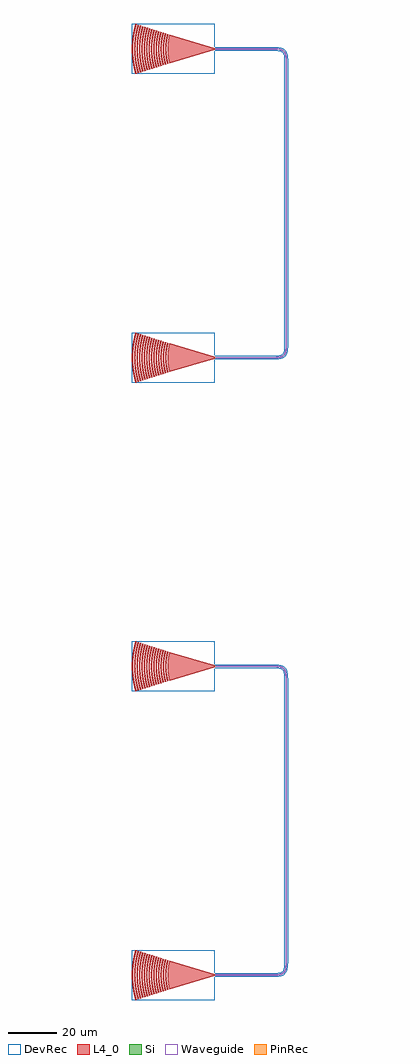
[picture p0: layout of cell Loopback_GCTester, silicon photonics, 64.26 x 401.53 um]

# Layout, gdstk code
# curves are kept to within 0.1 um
import gdstk
lib = gdstk.Library(unit=1e-6, precision=1e-09)
def R(c, l, rs):  # rectangles x0, y0, x1, y1
    for r in rs: c.add(gdstk.rectangle(r[:2], r[2:], *l))
def P(c, l, *ps):  # polygons
    for p in ps: c.add(gdstk.Polygon(p, *l))
Si = (1, 0)
PinRec = (1, 10)
Waveguide = (1, 99)
L4_0 = (4, 0)
DevRec = (68, 0)

universal_gc = lib.new_cell('Universal_GC')
P(universal_gc, L4_0, [(-19.476,-6.141),(-19.83,-4.715),(-20.099,-3.206),(-20.263,-1.709),(-20.327,-0.189),(-20.283,1.422),(-20.124,3.027),(-19.857,4.586),(-19.476,6.141),(-19.009,5.994),(-19.565,3.463),(-19.822,0.842),(-19.822,-0.842),(-19.687,-2.579),(-19.412,-4.318),(-19.009,-5.994)],
  [(-20.41,-6.435),(-20.81,-4.813),(-21.079,-3.27),(-21.249,-1.655),(-21.307,-0.11),(-21.257,1.537),(-21.086,3.22),(-20.81,4.813),(-20.41,6.435),(-19.943,6.288),(-20.529,3.637),(-20.803,0.817),(-20.799,-0.925),(-20.669,-2.613),(-20.371,-4.516),(-19.943,-6.288)],
  [(-21.344,-6.73),(-21.752,-5.092),(-22.034,-3.51),(-22.221,-1.794),(-22.286,-0.182),(-22.237,1.56),(-22.063,3.304),(-21.777,4.973),(-21.344,6.73),(-20.877,6.583),(-21.51,3.702),(-21.782,0.848),(-21.775,-1.026),(-21.621,-2.903),(-21.32,-4.764),(-20.877,-6.583)],
  [(-22.279,-7.024),(-22.701,-5.337),(-23.013,-3.583),(-23.199,-1.848),(-23.266,-0.08),(-23.21,1.689),(-23.029,3.468),(-22.701,5.337),(-22.279,7.024),(-21.811,6.877),(-22.217,5.259),(-22.518,3.585),(-22.707,1.862),(-22.776,0.139),(-22.721,-1.662),(-22.534,-3.473),(-22.237,-5.165),(-21.811,-6.877)],
  [(-23.213,-7.319),(-23.665,-5.512),(-23.978,-3.753),(-24.168,-2.024),(-24.245,-0.168),(-24.185,1.788),(-23.987,3.69),(-23.665,5.512),(-23.213,7.319),(-22.746,7.172),(-23.173,5.471),(-23.489,3.712),(-23.68,1.983),(-23.755,0.21),(-23.702,-1.671),(-23.514,-3.536),(-23.188,-5.401),(-22.746,-7.172)],
  [(-24.147,-7.613),(-24.612,-5.766),(-24.955,-3.839),(-25.162,-1.856),(-25.225,-0.014),(-25.162,1.856),(-24.955,3.839),(-24.612,5.766),(-24.147,7.613),(-23.68,7.466),(-24.139,5.637),(-24.458,3.855),(-24.658,2.039),(-24.735,0.123),(-24.673,-1.829),(-24.471,-3.764),(-24.139,-5.637),(-23.68,-7.466)],
  [(-25.081,-7.908),(-25.571,-5.965),(-25.903,-4.127),(-26.123,-2.149),(-26.204,-0.152),(-26.14,1.912),(-25.934,3.91),(-25.571,5.965),(-25.081,7.908),(-24.614,7.761),(-25.092,5.863),(-25.418,4.059),(-25.637,2.081),(-25.714,0.196),(-25.654,-1.839),(-25.451,-3.827),(-25.098,-5.835),(-24.614,-7.761)],
  [(-26.015,-8.202),(-26.495,-6.324),(-26.868,-4.295),(-27.094,-2.296),(-27.183,-0.219),(-27.123,1.889),(-26.904,4.045),(-26.524,6.191),(-26.015,8.202),(-25.548,8.055),(-26.033,6.145),(-26.401,4.104),(-26.614,2.15),(-26.694,0.091),(-26.625,-1.997),(-26.421,-3.963),(-26.069,-5.977),(-25.548,-8.055)],
  [(-26.949,-8.497),(-27.471,-6.445),(-27.842,-4.403),(-28.077,-2.284),(-28.163,-0.134),(-28.098,1.987),(-27.873,4.187),(-27.494,6.338),(-26.949,8.497),(-26.482,8.35),(-26.988,6.362),(-27.371,4.24),(-27.592,2.205),(-27.673,0.18),(-27.609,-1.962),(-27.386,-4.134),(-27.029,-6.171),(-26.482,-8.35)],
  [(-27.883,-8.792),(-28.422,-6.68),(-28.809,-4.559),(-29.053,-2.368),(-29.142,-0.207),(-29.081,1.965),(-28.849,4.279),(-28.454,6.532),(-27.883,8.792),(-27.416,8.644),(-27.941,6.588),(-28.341,4.375),(-28.573,2.22),(-28.653,0.035),(-28.573,-2.22),(-28.341,-4.375),(-27.941,-6.588),(-27.416,-8.644)],
  [(-28.817,-9.086),(-29.386,-6.856),(-29.798,-4.563),(-30.04,-2.3),(-30.122,-0.098),(-30.048,2.187),(-29.801,4.542),(-29.386,6.856),(-28.817,9.086),(-28.35,8.939),(-28.894,6.814),(-29.304,4.559),(-29.546,2.343),(-29.632,0.167),(-29.563,-2.1),(-29.324,-4.418),(-28.922,-6.685),(-28.35,-8.939)],
  [(-29.751,-9.381),(-30.346,-7.05),(-30.752,-4.81),(-31.01,-2.466),(-31.101,-0.194),(-31.027,2.225),(-30.767,4.706),(-30.346,7.05),(-29.751,9.381),(-29.284,9.233),(-29.858,6.99),(-30.259,4.796),(-30.514,2.53),(-30.611,0.232),(-30.54,-2.17),(-30.293,-4.561),(-29.882,-6.879),(-29.284,-9.233)],
  [(-30.685,-9.675),(-31.286,-7.336),(-31.724,-4.931),(-31.994,-2.44),(-32.081,-0.043),(-31.994,2.44),(-31.724,4.931),(-31.286,7.336),(-30.685,9.675),(-30.218,9.528),(-30.836,7.101),(-31.234,4.898),(-31.498,2.507),(-31.591,0.147),(-31.513,-2.298),(-31.261,-4.71),(-30.836,-7.101),(-30.218,-9.528)],
  [(-31.62,-9.97),(-32.249,-7.517),(-32.684,-5.135),(-32.961,-2.644),(-33.06,-0.174),(-32.981,2.363),(-32.709,4.963),(-32.249,7.517),(-31.62,9.97),(-31.153,9.822),(-31.756,7.479),(-32.194,5.101),(-32.468,2.669),(-32.57,0.224),(-32.501,-2.2),(-32.247,-4.731),(-31.781,-7.364),(-31.153,-9.822)],
  [(-32.554,-10.264),(-33.174,-7.87),(-33.645,-5.332),(-33.938,-2.714),(-34.039,-0.248),(-33.962,2.373),(-33.683,5.07),(-33.219,7.665),(-32.554,10.264),(-32.087,10.117),(-32.716,7.672),(-33.174,5.169),(-33.449,2.686),(-33.55,0.114),(-33.457,-2.577),(-33.188,-5.072),(-32.751,-7.512),(-32.087,-10.117)],
  [(-18.542,-5.846),(-19.145,-2.958),(-19.348,-0.128),(-19.161,2.84),(-18.542,5.846),(0,0.375),(0,-0.375)])
R(universal_gc, DevRec, [(-34.04,-10.264,0,10.264)])
universal_gc.add(gdstk.FlexPath([(-0.01,0),(0.01,0)], 0.75, ends="flush", simple_path=True, layer=1, datatype=10))  # PinRec
universal_gc.add(gdstk.Label('pin1', (0,0), layer=1, texttype=10))
universal_gc.add(gdstk.Label('Wavelength: 1.55\nIncident Angle: 8.0\nPolarization: TE\nSilicon thickness: 0.4\nSilicon etch depth: 0.4', (0,4), layer=1, texttype=10))

waveguide_2_1 = lib.new_cell('Waveguide$2$1')
P(waveguide_2_1, Si, [(-1169.44,730.61),(-1169.44,731.11),(-1144.97,731.11),(-1143.584,731.164),(-1142.228,731.414),(-1141.387,731.83),(-1141.004,732.193),(-1140.76,732.557),(-1140.415,733.519),(-1140.258,734.654),(-1140.22,735.86),(-1140.22,852.86),(-1140.259,854.067),(-1140.416,855.202),(-1140.761,856.164),(-1141.005,856.528),(-1141.388,856.891),(-1142.358,857.346),(-1143.764,857.572),(-1169.44,857.61),(-1169.44,858.11),(-1144.749,858.109),(-1143.539,858.055),(-1142.521,857.903),(-1141.803,857.685),(-1141.199,857.37),(-1140.793,857.037),(-1140.39,856.521),(-1140.146,856.028),(-1139.928,855.31),(-1139.725,853.298),(-1139.72,735.86),(-1139.775,734.429),(-1139.927,733.411),(-1140.145,732.693),(-1140.389,732.2),(-1140.703,731.778),(-1141.089,731.428),(-1142.076,730.938),(-1143.538,730.666),(-1144.97,730.61)])
P(waveguide_2_1, Waveguide, [(-1169.44,730.61),(-1169.44,731.11),(-1144.97,731.11),(-1143.584,731.164),(-1142.228,731.414),(-1141.387,731.83),(-1141.004,732.193),(-1140.76,732.557),(-1140.415,733.519),(-1140.258,734.654),(-1140.22,735.86),(-1140.22,852.86),(-1140.259,854.067),(-1140.416,855.202),(-1140.761,856.164),(-1141.005,856.528),(-1141.388,856.891),(-1142.358,857.346),(-1143.764,857.572),(-1169.44,857.61),(-1169.44,858.11),(-1144.749,858.109),(-1143.539,858.055),(-1142.521,857.903),(-1141.803,857.685),(-1141.199,857.37),(-1140.793,857.037),(-1140.39,856.521),(-1140.146,856.028),(-1139.928,855.31),(-1139.725,853.298),(-1139.72,735.86),(-1139.775,734.429),(-1139.927,733.411),(-1140.145,732.693),(-1140.389,732.2),(-1140.703,731.778),(-1141.089,731.428),(-1142.076,730.938),(-1143.538,730.666),(-1144.97,730.61)])
P(waveguide_2_1, DevRec, [(-1169.44,730.11),(-1169.44,731.61),(-1143.225,731.708),(-1142.394,731.886),(-1141.594,732.303),(-1141.115,732.965),(-1140.895,733.667),(-1140.72,735.86),(-1140.72,852.86),(-1140.896,855.054),(-1141.256,856.019),(-1141.812,856.575),(-1142.777,856.935),(-1143.74,857.068),(-1169.44,857.11),(-1169.44,858.61),(-1144.97,858.61),(-1142.461,858.401),(-1141.02,857.849),(-1139.982,856.811),(-1139.43,855.37),(-1139.231,853.562),(-1139.22,735.86),(-1139.429,733.351),(-1139.981,731.91),(-1140.62,731.163),(-1141.46,730.638),(-1143.017,730.222),(-1144.97,730.11)])
waveguide_2_1.add(gdstk.FlexPath([(-1169.43,857.86),(-1169.45,857.86)], 0.5, ends="flush", simple_path=True, layer=1, datatype=10))  # PinRec
waveguide_2_1.add(gdstk.FlexPath([(-1169.43,730.86),(-1169.45,730.86)], 0.5, ends="flush", simple_path=True, layer=1, datatype=10))  # PinRec
waveguide_2_1.add(gdstk.Label('opt1', (-1169.44,857.86), layer=1, texttype=10))
waveguide_2_1.add(gdstk.Label('opt2', (-1169.44,730.86), layer=1, texttype=10))
waveguide_2_1.add(gdstk.Label('Lumerical_INTERCONNECT_library=Design kits/EBeam', (-1169.44,857.76), layer=68, texttype=0))
waveguide_2_1.add(gdstk.Label('Component=ebeam_wg_integral_1550', (-1169.44,857.96), layer=68, texttype=0))
waveguide_2_1.add(gdstk.Label('cellName=Waveguide', (-1169.44,858.06), layer=68, texttype=0))
waveguide_2_1.add(gdstk.Label('Spice_param:wg_length=0.000182837 wg_width=5e-07 points="[[-1169.44,857.86],[-1139.97,857.86],[-1139.97,730.86],[-1169.44,730.86]]" radius=5e-06', (-1169.44,857.86), layer=68, texttype=0))
waveguide_2_1.add(gdstk.Label('Length=182.837 (microns)', (-1169.44,857.26), layer=68, texttype=0))
waveguide_2_1.add(gdstk.Label('waveguide_type=Strip TE 1550 nm, w=500 nm', (-1169.44,857.66), layer=68, texttype=0))

waveguide_3_1 = lib.new_cell('Waveguide$3$1')
P(waveguide_3_1, Si, [(-1169.44,476.61),(-1169.44,477.11),(-1145.01,477.11),(-1143.624,477.164),(-1142.268,477.414),(-1141.427,477.83),(-1141.044,478.193),(-1140.8,478.557),(-1140.455,479.519),(-1140.298,480.654),(-1140.26,481.86),(-1140.26,598.86),(-1140.299,600.067),(-1140.456,601.202),(-1140.801,602.164),(-1141.045,602.528),(-1141.428,602.891),(-1142.398,603.346),(-1143.804,603.572),(-1169.44,603.61),(-1169.44,604.11),(-1144.789,604.109),(-1143.579,604.055),(-1142.561,603.903),(-1141.843,603.685),(-1141.239,603.37),(-1140.833,603.037),(-1140.43,602.521),(-1140.186,602.028),(-1139.968,601.31),(-1139.765,599.298),(-1139.76,481.86),(-1139.815,480.429),(-1139.967,479.411),(-1140.185,478.693),(-1140.429,478.2),(-1140.743,477.778),(-1141.129,477.428),(-1142.116,476.938),(-1143.578,476.666),(-1145.01,476.61)])
P(waveguide_3_1, Waveguide, [(-1169.44,476.61),(-1169.44,477.11),(-1145.01,477.11),(-1143.624,477.164),(-1142.268,477.414),(-1141.427,477.83),(-1141.044,478.193),(-1140.8,478.557),(-1140.455,479.519),(-1140.298,480.654),(-1140.26,481.86),(-1140.26,598.86),(-1140.299,600.067),(-1140.456,601.202),(-1140.801,602.164),(-1141.045,602.528),(-1141.428,602.891),(-1142.398,603.346),(-1143.804,603.572),(-1169.44,603.61),(-1169.44,604.11),(-1144.789,604.109),(-1143.579,604.055),(-1142.561,603.903),(-1141.843,603.685),(-1141.239,603.37),(-1140.833,603.037),(-1140.43,602.521),(-1140.186,602.028),(-1139.968,601.31),(-1139.765,599.298),(-1139.76,481.86),(-1139.815,480.429),(-1139.967,479.411),(-1140.185,478.693),(-1140.429,478.2),(-1140.743,477.778),(-1141.129,477.428),(-1142.116,476.938),(-1143.578,476.666),(-1145.01,476.61)])
P(waveguide_3_1, DevRec, [(-1169.44,476.11),(-1169.44,477.61),(-1143.265,477.708),(-1142.434,477.886),(-1141.634,478.303),(-1141.155,478.965),(-1140.935,479.667),(-1140.76,481.86),(-1140.76,598.86),(-1140.936,601.054),(-1141.296,602.019),(-1141.852,602.575),(-1142.817,602.935),(-1143.78,603.068),(-1169.44,603.11),(-1169.44,604.61),(-1145.01,604.61),(-1142.501,604.401),(-1141.06,603.849),(-1140.022,602.811),(-1139.47,601.37),(-1139.271,599.562),(-1139.26,481.86),(-1139.469,479.351),(-1140.021,477.91),(-1140.66,477.163),(-1141.5,476.638),(-1143.057,476.222),(-1145.01,476.11)])
waveguide_3_1.add(gdstk.FlexPath([(-1169.43,603.86),(-1169.45,603.86)], 0.5, ends="flush", simple_path=True, layer=1, datatype=10))  # PinRec
waveguide_3_1.add(gdstk.FlexPath([(-1169.43,476.86),(-1169.45,476.86)], 0.5, ends="flush", simple_path=True, layer=1, datatype=10))  # PinRec
waveguide_3_1.add(gdstk.Label('opt1', (-1169.44,603.86), layer=1, texttype=10))
waveguide_3_1.add(gdstk.Label('opt2', (-1169.44,476.86), layer=1, texttype=10))
waveguide_3_1.add(gdstk.Label('Lumerical_INTERCONNECT_library=Design kits/EBeam', (-1169.44,603.76), layer=68, texttype=0))
waveguide_3_1.add(gdstk.Label('Component=ebeam_wg_integral_1550', (-1169.44,603.96), layer=68, texttype=0))
waveguide_3_1.add(gdstk.Label('cellName=Waveguide', (-1169.44,604.06), layer=68, texttype=0))
waveguide_3_1.add(gdstk.Label('Spice_param:wg_length=0.000182757 wg_width=5e-07 points="[[-1169.44,603.86],[-1140.01,603.86],[-1140.01,476.86],[-1169.44,476.86]]" radius=5e-06', (-1169.44,603.86), layer=68, texttype=0))
waveguide_3_1.add(gdstk.Label('Length=182.757 (microns)', (-1169.44,603.26), layer=68, texttype=0))
waveguide_3_1.add(gdstk.Label('waveguide_type=Strip TE 1550 nm, w=500 nm', (-1169.44,603.66), layer=68, texttype=0))

loopback_gctester = lib.new_cell('Loopback_GCTester')
r = gdstk.Reference(universal_gc, (-940.9,476.86)); r.repetition = gdstk.Repetition(1, 4, v1=(0,0), v2=(0,127)); loopback_gctester.add(r)
loopback_gctester.add(gdstk.Reference(waveguide_2_1, (228.54,0)))
loopback_gctester.add(gdstk.Reference(waveguide_3_1, (228.54,0)))

lib.write_gds('Loopback_GCTester.gds')
